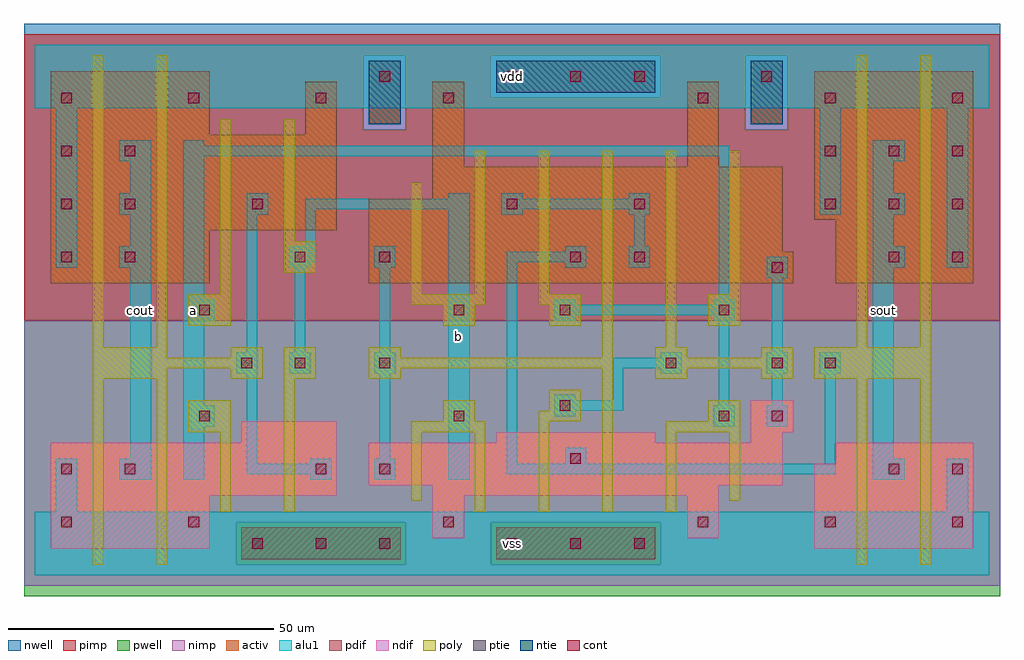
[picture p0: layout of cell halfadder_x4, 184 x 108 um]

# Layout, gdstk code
import gdstk
lib = gdstk.Library(unit=1e-6, precision=1e-09)
def R(c, l, rs):  # rectangles x0, y0, x1, y1
    for r in rs: c.add(gdstk.rectangle(r[:2], r[2:], *l))
def A(c, l, x, y, w, h, nx, ny, dx, dy):  # array of equal rectangles
    R(c, l, [(x+i*dx, y+j*dy, x+i*dx+w, y+j*dy+h) for i in range(nx) for j in range(ny)])
ndif = (3, 0)
pdif = (4, 0)
ntie = (5, 0)
ptie = (6, 0)
cont = (25, 0)
pwell = (41, 0)
nwell = (42, 0)
activ = (43, 0)
pimp = (44, 0)
nimp = (45, 0)
poly = (46, 0)
alu1 = (49, 0)

halfadder_x4 = lib.new_cell('halfadder_x4')
R(halfadder_x4, ndif, [(3,5,33,15), (147,5,177,21), (75,7,81,15), (123,7,129,15), (3,15,57,25), (75,15,129,17), (63,17,141,25), (151,21,177,25), (39,25,57,29), (87,25,117,27), (135,25,141,27), (135,27,143,33)])
R(halfadder_x4, pdif, [(3,55,33,65), (63,55,143,61), (151,55,177,67), (63,61,141,71), (3,65,57,83), (147,67,177,95), (75,71,141,77), (75,77,81,93), (123,77,129,93), (3,83,33,95), (51,83,57,93)])
R(halfadder_x4, ntie, [(63,85,69,97), (135,85,141,97), (87,91,117,97)])
R(halfadder_x4, ptie, [(39,3,69,9), (87,3,117,9)])
A(halfadder_x4, cont, 41, 5, 2, 2, 3, 1, 12, 0)
A(halfadder_x4, cont, 89, 5, 2, 2, 3, 2, 12, 88)
A(halfadder_x4, cont, 29, 9, 2, 2, 3, 1, 48, 0)
A(halfadder_x4, cont, 65, 19, 2, 2, 1, 3, 0, 20)
A(halfadder_x4, cont, 5, 59, 2, 2, 1, 3, 0, 10)
A(halfadder_x4, cont, 17, 59, 2, 2, 1, 3, 0, 10)
A(halfadder_x4, cont, 149, 69, 2, 2, 3, 2, 12, 10)
A(halfadder_x4, cont, 5, 89, 2, 2, 4, 1, 24, 0)
A(halfadder_x4, cont, 125, 89, 2, 2, 3, 1, 24, 0)
R(halfadder_x4, cont, [(5,9,7,11), (149,9,151,11), (173,9,175,11), (5,19,7,21), (17,19,19,21), (53,19,55,21), (161,19,163,21), (173,19,175,21), (101,21,103,23), (31,29,33,31), (79,29,81,31), (129,29,131,31), (139,29,141,31), (99,31,101,33), (39,39,41,41), (49,39,51,41), (119,39,121,41), (139,39,141,41), (149,39,151,41), (31,49,33,51), (79,49,81,51), (99,49,101,51), (129,49,131,51), (139,57,141,59), (49,59,51,61), (101,59,103,61), (113,59,115,61), (161,59,163,61), (173,59,175,61), (41,69,43,71), (89,69,91,71), (113,69,115,71), (65,93,67,95), (137,93,139,95)])
R(halfadder_x4, pwell, [(-2,-4,182,48)])
R(halfadder_x4, nwell, [(-2,48,182,104)])
R(halfadder_x4, activ, [(39,3,69,9), (87,3,117,9), (3,5,33,15), (147,5,177,21), (75,7,81,15), (123,7,129,15), (3,15,57,25), (75,15,129,17), (63,17,141,25), (151,21,177,25), (39,25,57,29), (87,25,117,27), (135,25,141,27), (135,27,143,33), (3,55,33,65), (63,55,143,61), (151,55,177,67), (63,61,141,71), (3,65,57,83), (147,67,177,95), (75,71,141,77), (75,77,81,93), (123,77,129,93), (3,83,33,95), (51,83,57,93), (63,85,69,97), (135,85,141,97), (87,91,117,97)])
R(halfadder_x4, pimp, [(38,2,70,10), (86,2,118,10), (-2,48,182,84), (-2,84,62,98), (70,84,134,90), (142,84,182,98), (70,90,86,98), (118,90,134,98), (-2,98,182,102)])
R(halfadder_x4, nimp, [(-2,-2,182,2), (-2,2,38,10), (70,2,86,10), (118,2,182,10), (-2,10,182,48), (62,84,70,98), (134,84,142,98), (86,90,118,98)])
R(halfadder_x4, poly, [(11,2,13,37), (23,2,25,37), (155,2,157,37), (167,2,169,37), (35,12,37,27), (47,12,49,37), (83,12,85,27), (95,12,97,29), (107,12,109,39), (119,12,121,27), (71,14,73,27), (131,14,133,27), (29,27,37,33), (71,27,85,29), (119,27,133,29), (77,29,83,33), (95,29,103,31), (127,29,133,33), (97,31,103,35), (11,37,25,39), (37,37,43,39), (47,37,53,43), (63,37,69,39), (117,37,123,39), (137,37,143,39), (147,37,169,43), (11,39,43,41), (63,39,109,41), (117,39,143,41), (11,41,25,43), (37,41,43,43), (63,41,69,43), (107,41,109,80), (117,41,123,43), (137,41,143,43), (11,43,13,98), (23,43,25,98), (119,43,121,80), (155,43,157,98), (167,43,169,98), (29,47,37,53), (77,47,83,51), (97,47,103,51), (127,47,133,53), (71,51,85,53), (95,51,103,53), (35,53,37,86), (71,53,73,74), (83,53,85,80), (95,53,97,80), (131,53,133,80), (47,57,53,63), (47,63,49,86)])
A(halfadder_x4, alu1, 64, 18, 4, 4, 1, 3, 0, 20)
A(halfadder_x4, alu1, 16, 58, 6, 4, 1, 3, 0, 10)
A(halfadder_x4, alu1, 158, 58, 6, 4, 1, 3, 0, 10)
R(halfadder_x4, alu1, [(0,0,180,12), (4,12,8,22), (172,12,176,22), (16,18,22,22), (28,18,32,28), (52,18,56,19), (78,18,82,69), (158,18,164,22), (40,19,56,21), (89,19,151,21), (40,21,42,38), (52,21,56,22), (89,21,91,59), (100,21,104,24), (149,21,151,38), (18,22,22,58), (65,22,67,38), (158,22,162,58), (28,28,34,32), (128,28,132,32), (138,28,142,32), (98,30,102,31), (98,31,111,33), (28,32,32,48), (129,32,131,48), (139,32,141,38), (98,33,102,34), (109,33,111,39), (38,38,42,42), (48,38,52,42), (118,38,122,39), (138,38,142,42), (148,38,152,42), (109,39,122,41), (118,41,122,42), (40,42,42,68), (49,42,51,58), (65,42,67,58), (139,42,141,56), (28,48,34,52), (98,48,102,49), (128,48,132,49), (98,49,132,51), (98,51,102,52), (128,51,132,52), (28,52,32,79), (129,52,131,79), (138,56,142,60), (4,58,8,88), (48,58,52,59), (100,58,104,59), (112,58,116,62), (172,58,176,88), (48,59,53,62), (89,59,104,61), (100,61,104,62), (18,62,22,68), (51,62,53,69), (113,62,115,68), (158,62,162,68), (40,68,44,72), (88,68,92,69), (112,68,116,69), (148,68,152,88), (51,69,82,71), (88,69,116,71), (78,71,82,72), (88,71,92,72), (112,71,116,72), (18,72,22,78), (158,72,162,78), (28,79,131,81), (28,81,32,82), (0,88,180,100)])
halfadder_x4.add(gdstk.Label('a', (30,50), layer=49, texttype=0))
halfadder_x4.add(gdstk.Label('cout', (20,50), layer=49, texttype=0))
halfadder_x4.add(gdstk.Label('vss', (90,6), layer=49, texttype=0))
halfadder_x4.add(gdstk.Label('b', (80,45), layer=49, texttype=0))
halfadder_x4.add(gdstk.Label('vdd', (90,94), layer=49, texttype=0))
halfadder_x4.add(gdstk.Label('sout', (160,50), layer=49, texttype=0))

lib.write_gds('halfadder_x4.gds')
